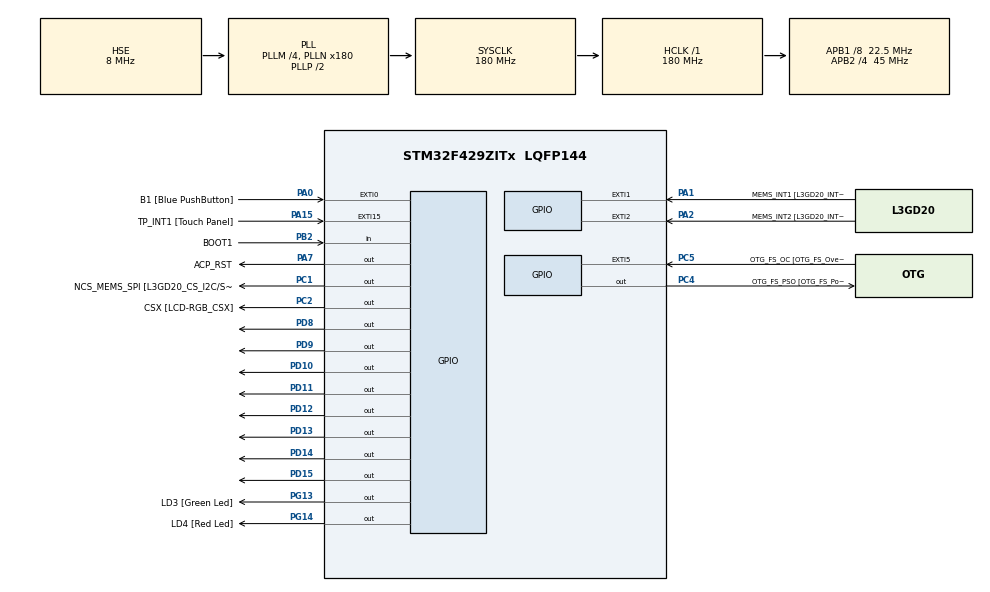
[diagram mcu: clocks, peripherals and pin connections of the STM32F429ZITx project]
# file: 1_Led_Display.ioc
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Mcu.Family=STM32F4
Mcu.Name=STM32F429ZITx
Mcu.Package=LQFP144
NVIC.EXTI0_IRQn=true\:0\:0\:false\:false\:true\:true\:true\:true
NVIC.PriorityGroup=NVIC_PRIORITYGROUP_0
NVIC.TIM6_DAC_IRQn=true\:0\:0\:false\:false\:true\:true\:true\:true
PA0/WKUP.GPIO_Label=B1 [Blue PushButton]
PA0/WKUP.GPIO_ModeDefaultEXTI=GPIO_MODE_IT_RISING
PA0/WKUP.GPIO_PuPd=GPIO_NOPULL
PA0/WKUP.Signal=GPXTI0
PA1.GPIO_Label=MEMS_INT1 [L3GD20_INT1]
PA1.GPIO_ModeDefaultEXTI=GPIO_MODE_EVT_RISING
PA1.GPIO_PuPd=GPIO_NOPULL
PA1.Signal=GPXTI1
PA10.GPIO_Label=STLINK_TX [STM32F103CBT6_PA2]
PA10.Signal=USART1_RX
PA11.GPIO_Label=R4
PA11.GPIO_Mode=GPIO_MODE_AF_PP
PA11.GPIO_PuPd=GPIO_NOPULL
PA11.GPIO_Speed=GPIO_SPEED_FREQ_LOW
PA11.Signal=LTDC_R4
PA12.GPIO_Label=R5
PA12.GPIO_Mode=GPIO_MODE_AF_PP
PA12.GPIO_PuPd=GPIO_NOPULL
PA12.GPIO_Speed=GPIO_SPEED_FREQ_LOW
PA12.Signal=LTDC_R5
PA13.GPIO_Label=SWDIO
PA13.Signal=SYS_JTMS-SWDIO
PA14.GPIO_Label=SWCLK
PA14.Signal=SYS_JTCK-SWCLK
PA15.GPIO_Label=TP_INT1 [Touch Panel]
PA15.GPIO_ModeDefaultEXTI=GPIO_MODE_EVT_RISING
PA15.GPIO_PuPd=GPIO_NOPULL
PA15.Signal=GPXTI15
PA2.GPIO_Label=MEMS_INT2 [L3GD20_INT2]
PA2.GPIO_ModeDefaultEXTI=GPIO_MODE_EVT_RISING
PA2.GPIO_PuPd=GPIO_NOPULL
PA2.Signal=GPXTI2
PA3.GPIO_Label=B5
PA3.GPIO_Mode=GPIO_MODE_AF_PP
PA3.GPIO_PuPd=GPIO_NOPULL
PA3.GPIO_Speed=GPIO_SPEED_FREQ_LOW
PA3.Signal=LTDC_B5
PA4.GPIO_Label=VSYNC
PA4.GPIO_Mode=GPIO_MODE_AF_PP
PA4.GPIO_PuPd=GPIO_NOPULL
PA4.GPIO_Speed=GPIO_SPEED_FREQ_LOW
PA4.Signal=LTDC_VSYNC
PA6.GPIO_Label=G2
PA6.GPIO_Mode=GPIO_MODE_AF_PP
PA6.GPIO_PuPd=GPIO_NOPULL
PA6.GPIO_Speed=GPIO_SPEED_FREQ_LOW
PA6.Signal=LTDC_G2
PA7.GPIO_Label=ACP_RST
PA7.GPIO_Mode=GPIO_MODE_OUTPUT_PP
PA7.GPIO_PuPd=GPIO_NOPULL
PA7.GPIO_Speed=GPIO_SPEED_FREQ_LOW
PA7.Signal=GPIO_Output
PA8.GPIO_Label=I2C3_SCL [ACP/RF_SCL]
PA8.GPIO_Mode=GPIO_MODE_AF_OD
PA8.GPIO_PuPd=GPIO_NOPULL
PA8.GPIO_Speed=GPIO_SPEED_FREQ_LOW
PA8.Signal=I2C3_SCL
PA9.GPIO_Label=STLINK_RX [STM32F103CBT6_PA3]
PA9.Signal=USART1_TX
PB0.GPIO_Label=R3
PB0.GPIO_Mode=GPIO_MODE_AF_PP
PB0.GPIO_PuPd=GPIO_NOPULL
PB0.GPIO_Speed=GPIO_SPEED_FREQ_LOW
PB0.Signal=LTDC_R3
PB1.GPIO_Label=R6
PB1.GPIO_Mode=GPIO_MODE_AF_PP
PB1.GPIO_PuPd=GPIO_NOPULL
PB1.GPIO_Speed=GPIO_SPEED_FREQ_LOW
PB1.Signal=LTDC_R6
PB10.GPIO_Label=G4
PB10.GPIO_Mode=GPIO_MODE_AF_PP
PB10.GPIO_PuPd=GPIO_NOPULL
PB10.GPIO_Speed=GPIO_SPEED_FREQ_LOW
PB10.Signal=LTDC_G4
PB11.GPIO_Label=G5
PB11.GPIO_Mode=GPIO_MODE_AF_PP
PB11.GPIO_PuPd=GPIO_NOPULL
PB11.GPIO_Speed=GPIO_SPEED_FREQ_LOW
PB11.Signal=LTDC_G5
PB12.GPIO_Label=OTG_HS_ID
PB12.GPIO_Mode=GPIO_MODE_AF_PP
PB12.GPIO_PuPd=GPIO_NOPULL
PB12.GPIO_Speed=GPIO_SPEED_FREQ_LOW
PB12.Signal=USB_OTG_HS_ID
PB13.GPIO_Label=VBUS_HS
PB13.GPIO_Mode=GPIO_MODE_INPUT
PB13.GPIO_PuPd=GPIO_NOPULL
PB13.Signal=USB_OTG_HS_VBUS
PB14.GPIO_Label=OTG_HS_DM
PB14.GPIO_Mode=GPIO_MODE_AF_PP
PB14.GPIO_PuPd=GPIO_NOPULL
PB14.GPIO_Speed=GPIO_SPEED_FREQ_LOW
PB14.Signal=USB_OTG_HS_DM
PB15.GPIO_Label=OTG_HS_DP
PB15.GPIO_Mode=GPIO_MODE_AF_PP
PB15.GPIO_PuPd=GPIO_NOPULL
PB15.GPIO_Speed=GPIO_SPEED_FREQ_LOW
PB15.Signal=USB_OTG_HS_DP
PB2/BOOT1.GPIO_Label=BOOT1
PB2/BOOT1.GPIO_Mode=GPIO_MODE_INPUT
PB2/BOOT1.GPIO_PuPd=GPIO_NOPULL
PB2/BOOT1.Signal=GPIO_Input
PB5.GPIO_Label=SDCKE1
PB5.GPIO_Mode=GPIO_MODE_AF_PP
PB5.GPIO_PuPd=GPIO_NOPULL
PB5.GPIO_Speed=GPIO_SPEED_FREQ_VERY_HIGH
PB5.Signal=FMC_SDCKE1
PB6.GPIO_Label=SDNE1 [SDRAM_CS]
PB6.GPIO_Mode=GPIO_MODE_AF_PP
PB6.GPIO_PuPd=GPIO_NOPULL
PB6.GPIO_Speed=GPIO_SPEED_FREQ_VERY_HIGH
PB6.Signal=FMC_SDNE1
PB8.GPIO_Label=B6
PB8.GPIO_Mode=GPIO_MODE_AF_PP
PB8.GPIO_PuPd=GPIO_NOPULL
PB8.GPIO_Speed=GPIO_SPEED_FREQ_LOW
PB8.Signal=LTDC_B6
PB9.GPIO_Label=B7
PB9.GPIO_Mode=GPIO_MODE_AF_PP
PB9.GPIO_PuPd=GPIO_NOPULL
PB9.GPIO_Speed=GPIO_SPEED_FREQ_LOW
PB9.Signal=LTDC_B7
PC0.GPIO_Label=SDNWE
PC0.GPIO_Mode=GPIO_MODE_AF_PP
PC0.GPIO_PuPd=GPIO_NOPULL
PC0.GPIO_Speed=GPIO_SPEED_FREQ_VERY_HIGH
PC0.Signal=FMC_SDNWE
PC1.GPIO_Label=NCS_MEMS_SPI [L3GD20_CS_I2C/SPI]
PC1.GPIO_Mode=GPIO_MODE_OUTPUT_PP
PC1.GPIO_PuPd=GPIO_NOPULL
PC1.GPIO_Speed=GPIO_SPEED_FREQ_LOW
PC1.Signal=GPIO_Output
PC10.GPIO_Label=R2
PC10.GPIO_Mode=GPIO_MODE_AF_PP
PC10.GPIO_PuPd=GPIO_NOPULL
PC10.GPIO_Speed=GPIO_SPEED_FREQ_LOW
PC10.Signal=LTDC_R2
PC14/OSC32_IN.GPIO_Label=PC14-OSC32_IN
PC14/OSC32_IN.Signal=RCC_OSC32_IN
PC15/OSC32_OUT.GPIO_Label=PC15-OSC32_OUT
PC15/OSC32_OUT.Signal=RCC_OSC32_OUT
PC2.GPIO_Label=CSX [LCD-RGB_CSX]
PC2.GPIO_Mode=GPIO_MODE_OUTPUT_PP
PC2.GPIO_PuPd=GPIO_NOPULL
PC2.GPIO_Speed=GPIO_SPEED_FREQ_LOW
PC2.Signal=GPIO_Output
PC4.GPIO_Label=OTG_FS_PSO [OTG_FS_PowerSwitchOn]
PC4.GPIO_Mode=GPIO_MODE_OUTPUT_PP
PC4.GPIO_PuPd=GPIO_NOPULL
PC4.GPIO_Speed=GPIO_SPEED_FREQ_LOW
PC4.Signal=GPIO_Output
PC5.GPIO_Label=OTG_FS_OC [OTG_FS_OverCurrent]
PC5.GPIO_ModeDefaultEXTI=GPIO_MODE_EVT_RISING
PC5.Signal=GPXTI5
PC6.GPIO_Label=HSYNC
PC6.GPIO_Mode=GPIO_MODE_AF_PP
PC6.GPIO_PuPd=GPIO_NOPULL
PC6.GPIO_Speed=GPIO_SPEED_FREQ_LOW
PC6.Signal=LTDC_HSYNC
PC7.GPIO_Label=G6
PC7.GPIO_Mode=GPIO_MODE_AF_PP
PC7.GPIO_PuPd=GPIO_NOPULL
PC7.GPIO_Speed=GPIO_SPEED_FREQ_LOW
PC7.Signal=LTDC_G6
PC9.GPIO_Label=I2C3_SDA [ACP/RF_SDA]
PC9.GPIO_Mode=GPIO_MODE_AF_OD
PC9.GPIO_PuPd=GPIO_NOPULL
PC9.GPIO_Speed=GPIO_SPEED_FREQ_LOW
PC9.Signal=I2C3_SDA
PD0.GPIO_Label=D2
PD0.GPIO_Mode=GPIO_MODE_AF_PP
PD0.GPIO_PuPd=GPIO_NOPULL
PD0.GPIO_Speed=GPIO_SPEED_FREQ_VERY_HIGH
PD0.Signal=FMC_D2_DA2
PD1.GPIO_Label=D3
PD1.GPIO_Mode=GPIO_MODE_AF_PP
PD1.GPIO_PuPd=GPIO_NOPULL
PD1.GPIO_Speed=GPIO_SPEED_FREQ_VERY_HIGH
PD1.Signal=FMC_D3_DA3
PD10.Signal=GPIO_Output
PD11.Signal=GPIO_Output
PD12.Signal=GPIO_Output
PD13.Signal=GPIO_Output
PD14.Signal=GPIO_Output
PD15.Signal=GPIO_Output
PD3.GPIO_Label=G7
PD3.GPIO_Mode=GPIO_MODE_AF_PP
PD3.GPIO_PuPd=GPIO_NOPULL
PD3.GPIO_Speed=GPIO_SPEED_FREQ_LOW
PD3.Signal=LTDC_G7
PD6.GPIO_Label=B2
PD6.GPIO_Mode=GPIO_MODE_AF_PP
PD6.GPIO_PuPd=GPIO_NOPULL
PD6.GPIO_Speed=GPIO_SPEED_FREQ_LOW
PD6.Signal=LTDC_B2
PD8.Signal=GPIO_Output
PD9.Signal=GPIO_Output
PE0.GPIO_Label=NBL0 [SDRAM_LDQM]
PE0.GPIO_Mode=GPIO_MODE_AF_PP
PE0.GPIO_PuPd=GPIO_NOPULL
PE0.GPIO_Speed=GPIO_SPEED_FREQ_VERY_HIGH
PE0.Signal=FMC_NBL0
PE1.GPIO_Label=NBL1 [SDRAM_UDQM]
PE1.GPIO_Mode=GPIO_MODE_AF_PP
PE1.GPIO_PuPd=GPIO_NOPULL
PE1.GPIO_Speed=GPIO_SPEED_FREQ_VERY_HIGH
PE1.Signal=FMC_NBL1
PE11.GPIO_Label=D8
PE11.GPIO_Mode=GPIO_MODE_AF_PP
PE11.GPIO_PuPd=GPIO_NOPULL
PE11.GPIO_Speed=GPIO_SPEED_FREQ_VERY_HIGH
PE11.Signal=FMC_D8_DA8
PE12.GPIO_Label=D9
PE12.GPIO_Mode=GPIO_MODE_AF_PP
PE12.GPIO_PuPd=GPIO_NOPULL
PE12.GPIO_Speed=GPIO_SPEED_FREQ_VERY_HIGH
PE12.Signal=FMC_D9_DA9
PE13.GPIO_Label=D10
PE13.GPIO_Mode=GPIO_MODE_AF_PP
PE13.GPIO_PuPd=GPIO_NOPULL
PE13.GPIO_Speed=GPIO_SPEED_FREQ_VERY_HIGH
PE13.Signal=FMC_D10_DA10
PE14.GPIO_Label=D11
PE14.GPIO_Mode=GPIO_MODE_AF_PP
PE14.GPIO_PuPd=GPIO_NOPULL
PE14.GPIO_Speed=GPIO_SPEED_FREQ_VERY_HIGH
PE14.Signal=FMC_D11_DA11
PE15.GPIO_Label=D12
PE15.GPIO_Mode=GPIO_MODE_AF_PP
PE15.GPIO_PuPd=GPIO_NOPULL
PE15.GPIO_Speed=GPIO_SPEED_FREQ_VERY_HIGH
PE15.Signal=FMC_D12_DA12
PE7.GPIO_Label=D4
PE7.GPIO_Mode=GPIO_MODE_AF_PP
PE7.GPIO_PuPd=GPIO_NOPULL
PE7.GPIO_Speed=GPIO_SPEED_FREQ_VERY_HIGH
PE7.Signal=FMC_D4_DA4
PE8.GPIO_Label=D5
PE8.GPIO_Mode=GPIO_MODE_AF_PP
PE8.GPIO_PuPd=GPIO_NOPULL
PE8.GPIO_Speed=GPIO_SPEED_FREQ_VERY_HIGH
PE8.Signal=FMC_D5_DA5
PE9.GPIO_Label=D6
PE9.GPIO_Mode=GPIO_MODE_AF_PP
PE9.GPIO_PuPd=GPIO_NOPULL
PE9.GPIO_Speed=GPIO_SPEED_FREQ_VERY_HIGH
PE9.Signal=FMC_D6_DA6
PF0.GPIO_Label=A0
PF0.GPIO_Mode=GPIO_MODE_AF_PP
PF0.GPIO_PuPd=GPIO_NOPULL
PF0.GPIO_Speed=GPIO_SPEED_FREQ_VERY_HIGH
PF0.Signal=FMC_A0
PF1.GPIO_Label=A1
PF1.GPIO_Mode=GPIO_MODE_AF_PP
PF1.GPIO_PuPd=GPIO_NOPULL
PF1.GPIO_Speed=GPIO_SPEED_FREQ_VERY_HIGH
PF1.Signal=FMC_A1
PF10.GPIO_Label=ENABLE [LCD-RGB_ENABLE]
PF10.GPIO_Mode=GPIO_MODE_AF_PP
PF10.GPIO_PuPd=GPIO_NOPULL
PF10.GPIO_Speed=GPIO_SPEED_FREQ_LOW
PF10.Signal=LTDC_DE
PF11.GPIO_Label=SDNRAS
PF11.GPIO_Mode=GPIO_MODE_AF_PP
PF11.GPIO_PuPd=GPIO_NOPULL
PF11.GPIO_Speed=GPIO_SPEED_FREQ_VERY_HIGH
PF11.Signal=FMC_SDNRAS
PF12.GPIO_Label=A6
PF12.GPIO_Mode=GPIO_MODE_AF_PP
PF12.GPIO_PuPd=GPIO_NOPULL
PF12.GPIO_Speed=GPIO_SPEED_FREQ_VERY_HIGH
PF12.Signal=FMC_A6
PF13.GPIO_Label=A7
PF13.GPIO_Mode=GPIO_MODE_AF_PP
PF13.GPIO_PuPd=GPIO_NOPULL
PF13.GPIO_Speed=GPIO_SPEED_FREQ_VERY_HIGH
PF13.Signal=FMC_A7
PF14.GPIO_Label=A8
PF14.GPIO_Mode=GPIO_MODE_AF_PP
PF14.GPIO_PuPd=GPIO_NOPULL
PF14.GPIO_Speed=GPIO_SPEED_FREQ_VERY_HIGH
PF14.Signal=FMC_A8
PF15.GPIO_Label=A9
PF15.GPIO_Mode=GPIO_MODE_AF_PP
PF15.GPIO_PuPd=GPIO_NOPULL
PF15.GPIO_Speed=GPIO_SPEED_FREQ_VERY_HIGH
PF15.Signal=FMC_A9
PF2.GPIO_Label=A2
PF2.GPIO_Mode=GPIO_MODE_AF_PP
PF2.GPIO_PuPd=GPIO_NOPULL
PF2.GPIO_Speed=GPIO_SPEED_FREQ_VERY_HIGH
PF2.Signal=FMC_A2
PF3.GPIO_Label=A3
PF3.GPIO_Mode=GPIO_MODE_AF_PP
PF3.GPIO_PuPd=GPIO_NOPULL
PF3.GPIO_Speed=GPIO_SPEED_FREQ_VERY_HIGH
PF3.Signal=FMC_A3
PF4.GPIO_Label=A4
PF4.GPIO_Mode=GPIO_MODE_AF_PP
PF4.GPIO_PuPd=GPIO_NOPULL
PF4.GPIO_Speed=GPIO_SPEED_FREQ_VERY_HIGH
PF4.Signal=FMC_A4
PF5.GPIO_Label=A5
PF5.GPIO_Mode=GPIO_MODE_AF_PP
PF5.GPIO_PuPd=GPIO_NOPULL
PF5.GPIO_Speed=GPIO_SPEED_FREQ_VERY_HIGH
PF5.Signal=FMC_A5
PF7.GPIO_Label=SPI5_SCK [L3GD20_SCL/SPC]
PF7.GPIO_Mode=GPIO_MODE_AF_PP
PF7.GPIO_PuPd=GPIO_NOPULL
PF7.GPIO_Speed=GPIO_SPEED_FREQ_LOW
PF7.Signal=SPI5_SCK
PF8.GPIO_Label=SPI5_MISO [L3GD20_SDO]
PF8.GPIO_Mode=GPIO_MODE_AF_PP
PF8.GPIO_PuPd=GPIO_NOPULL
PF8.GPIO_Speed=GPIO_SPEED_FREQ_LOW
PF8.Signal=SPI5_MISO
PF9.GPIO_Label=SPI5_MOSI [L3GD20_SDA/SDI/SDO]
PF9.GPIO_Mode=GPIO_MODE_AF_PP
PF9.GPIO_PuPd=GPIO_NOPULL
PF9.GPIO_Speed=GPIO_SPEED_FREQ_LOW
PF9.Signal=SPI5_MOSI
PG0.GPIO_Label=A10
PG0.GPIO_Mode=GPIO_MODE_AF_PP
PG0.GPIO_PuPd=GPIO_NOPULL
PG0.GPIO_Speed=GPIO_SPEED_FREQ_VERY_HIGH
PG0.Signal=FMC_A10
PG1.GPIO_Label=A11
PG1.GPIO_Mode=GPIO_MODE_AF_PP
PG1.GPIO_PuPd=GPIO_NOPULL
PG1.GPIO_Speed=GPIO_SPEED_FREQ_VERY_HIGH
PG1.Signal=FMC_A11
PG10.GPIO_Label=G3
PG10.GPIO_Mode=GPIO_MODE_AF_PP
PG10.GPIO_PuPd=GPIO_NOPULL
PG10.GPIO_Speed=GPIO_SPEED_FREQ_LOW
PG10.Signal=LTDC_G3
PG11.GPIO_Label=B3
PG11.GPIO_Mode=GPIO_MODE_AF_PP
PG11.GPIO_PuPd=GPIO_NOPULL
PG11.GPIO_Speed=GPIO_SPEED_FREQ_LOW
PG11.Signal=LTDC_B3
PG12.GPIO_Label=B4
PG12.GPIO_Mode=GPIO_MODE_AF_PP
PG12.GPIO_PuPd=GPIO_NOPULL
PG12.GPIO_Speed=GPIO_SPEED_FREQ_LOW
PG12.Signal=LTDC_B4
PG13.GPIO_Label=LD3 [Green Led]
PG13.GPIO_Mode=GPIO_MODE_OUTPUT_PP
PG13.GPIO_PuPd=GPIO_NOPULL
PG13.GPIO_Speed=GPIO_SPEED_FREQ_LOW
PG13.Signal=GPIO_Output
PG14.GPIO_Label=LD4 [Red Led]
PG14.GPIO_Mode=GPIO_MODE_OUTPUT_PP
PG14.GPIO_PuPd=GPIO_NOPULL
PG14.GPIO_Speed=GPIO_SPEED_FREQ_LOW
PG14.Signal=GPIO_Output
PG15.GPIO_Label=SDNCAS
PG15.GPIO_Mode=GPIO_MODE_AF_PP
PG15.GPIO_PuPd=GPIO_NOPULL
PG15.GPIO_Speed=GPIO_SPEED_FREQ_VERY_HIGH
PG15.Signal=FMC_SDNCAS
PG4.GPIO_Label=BA0
PG4.GPIO_Mode=GPIO_MODE_AF_PP
PG4.GPIO_PuPd=GPIO_NOPULL
PG4.GPIO_Speed=GPIO_SPEED_FREQ_VERY_HIGH
PG4.Signal=FMC_A14_BA0
PG5.GPIO_Label=BA1
PG5.GPIO_Mode=GPIO_MODE_AF_PP
PG5.GPIO_PuPd=GPIO_NOPULL
PG5.GPIO_Speed=GPIO_SPEED_FREQ_VERY_HIGH
PG5.Signal=FMC_A15_BA1
PG6.GPIO_Label=R7
PG6.GPIO_Mode=GPIO_MODE_AF_PP
PG6.GPIO_PuPd=GPIO_NOPULL
PG6.GPIO_Speed=GPIO_SPEED_FREQ_LOW
PG6.Signal=LTDC_R7
PG7.GPIO_Label=DOTCLK [LCT-RGB_DOTCLK]
PG7.GPIO_Mode=GPIO_MODE_AF_PP
PG7.GPIO_PuPd=GPIO_NOPULL
PG7.GPIO_Speed=GPIO_SPEED_FREQ_LOW
PG7.Signal=LTDC_CLK
PG8.GPIO_Label=SDCLK
PG8.GPIO_Mode=GPIO_MODE_AF_PP
PG8.GPIO_PuPd=GPIO_NOPULL
PG8.GPIO_Speed=GPIO_SPEED_FREQ_VERY_HIGH
PG8.Signal=FMC_SDCLK
PH0/OSC_IN.GPIO_Label=PH0-OSC_IN
PH0/OSC_IN.Mode=HSE-External-Oscillator
PH0/OSC_IN.Signal=RCC_OSC_IN
PH1/OSC_OUT.GPIO_Label=PH1-OSC_OUT
PH1/OSC_OUT.Mode=HSE-External-Oscillator
PH1/OSC_OUT.Signal=RCC_OSC_OUT
ProjectManager.HeapSize=0x200
ProjectManager.StackSize=0x400
ProjectManager.TargetToolchain=STM32CubeIDE
RCC.48MHZClocksFreq_Value=51428571.428571425
RCC.AHBFreq_Value=180000000
RCC.APB1CLKDivider=RCC_HCLK_DIV8
RCC.APB1Freq_Value=22500000
RCC.APB1TimFreq_Value=45000000
RCC.APB2CLKDivider=RCC_HCLK_DIV4
RCC.APB2Freq_Value=45000000
RCC.APB2TimFreq_Value=90000000
RCC.CortexFreq_Value=180000000
RCC.HCLKFreq_Value=180000000
RCC.HSE_VALUE=8000000
RCC.HSI_VALUE=16000000
RCC.LSE_VALUE=32768
RCC.PLLM=4
RCC.PLLN=180
RCC.PLLQ=7
RCC.PLLSourceVirtual=RCC_PLLSOURCE_HSE
RCC.SYSCLKFreq_VALUE=180000000
RCC.SYSCLKSource=RCC_SYSCLKSOURCE_PLLCLK
RCC.VCOOutputFreq_Value=360000000
SH.FMC_A0.0=FMC_A0
SH.FMC_A1.0=FMC_A1
SH.FMC_A10.0=FMC_A10
SH.FMC_A11.0=FMC_A11
SH.FMC_A14_BA0.0=FMC_BA0
SH.FMC_A15_BA1.0=FMC_BA1
SH.FMC_A2.0=FMC_A2
SH.FMC_A3.0=FMC_A3
SH.FMC_A4.0=FMC_A4
SH.FMC_A5.0=FMC_A5
SH.FMC_A6.0=FMC_A6
SH.FMC_A7.0=FMC_A7
SH.FMC_A8.0=FMC_A8
SH.FMC_A9.0=FMC_A9
SH.FMC_D10_DA10.0=FMC_D10
SH.FMC_D11_DA11.0=FMC_D11
SH.FMC_D12_DA12.0=FMC_D12
SH.FMC_D2_DA2.0=FMC_D2
SH.FMC_D3_DA3.0=FMC_D3
SH.FMC_D4_DA4.0=FMC_D4
SH.FMC_D5_DA5.0=FMC_D5
SH.FMC_D6_DA6.0=FMC_D6
SH.FMC_D8_DA8.0=FMC_D8
SH.FMC_D9_DA9.0=FMC_D9
SH.FMC_NBL0.0=FMC_NBL0
SH.FMC_NBL1.0=FMC_NBL1
SH.FMC_SDCLK.0=FMC_SDCLK
SH.FMC_SDNCAS.0=FMC_SDNCAS
SH.FMC_SDNRAS.0=FMC_SDNRAS
SH.FMC_SDNWE.0=FMC_SDNWE
TIM6.Period=99
TIM6.Prescaler=80
VP_TIM6_VS_ClockSourceINT.Mode=Enable_Timer
board=STM32F429I-DISC1

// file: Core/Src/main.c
/* USER CODE BEGIN Header */
/**
 ******************************************************************************
 * @file           : main.c
 * @brief          : Main program body
 ******************************************************************************
 * @attention
 *
 * Copyright (c) 2025 STMicroelectronics.
 * All rights reserved.
 *
 * This software is licensed under terms that can be found in the LICENSE file
 * in the root directory of this software component.
 * If no LICENSE file comes with this software, it is provided AS-IS.
 *
 ******************************************************************************
 */
/* USER CODE END Header */
#include "main.h"
#include <stdint.h>

TIM_HandleTypeDef htim6;

/* USER CODE BEGIN PV */
volatile uint8_t LED_Value;
//Mảng lưu các giá trị của mode 4
const unsigned char frames[] = { 0x00, 0x81, 0x42, 0x24, 0x18, 0x18, 0x24, 0x42,
		0x81, 0x00 };
uint8_t countMode = 1;
//Mode 1 là mode ban đầu của chương trình
volatile uint8_t modeLed = 0;
volatile uint8_t chance;
static uint8_t value1 = 1;
static uint8_t value2 = 1;
static uint8_t value3 = 0xFF;
static uint8_t value4 = 0;
/* USER CODE END PV */

void SystemClock_Config(void);
static void MX_GPIO_Init(void);
static void MX_TIM6_Init(void);

/* USER CODE BEGIN 0 */
uint8_t setLEDsMode1() {

	value1 = (value1 << 1) | (value1 >> 7);
	return value1;
}
uint8_t setLEDsMode2() {

	value2 = (value2 >> 1) | (value2 << 7);
	return value2;
}
uint8_t setLEDsMode3() {
	//static int value3 = 0xFF;
	value3 = ~value3;
	return value3;
}
uint8_t setLEDsMode4() {
	value4 = value4 % 10;
	return frames[value4++];
}
//con tro ham goi mode
uint8_t (*setLEDsMode[])() = {setLEDsMode1, setLEDsMode2, setLEDsMode3, setLEDsMode4};
void DisplayLEDs(uint8_t mode) {
	LED_Value = setLEDsMode[mode]();
	if (LED_Value & 0x80)
		HAL_GPIO_WritePin(GPIOD, GPIO_PIN_15, GPIO_PIN_SET);
	else
		HAL_GPIO_WritePin(GPIOD, GPIO_PIN_15, GPIO_PIN_RESET);
	if (LED_Value & 0x40)
		HAL_GPIO_WritePin(GPIOD, GPIO_PIN_14, GPIO_PIN_SET);
	else
		HAL_GPIO_WritePin(GPIOD, GPIO_PIN_14, GPIO_PIN_RESET);
	if (LED_Value & 0x20)
		HAL_GPIO_WritePin(GPIOD, GPIO_PIN_13, GPIO_PIN_SET);
	else
		HAL_GPIO_WritePin(GPIOD, GPIO_PIN_13, GPIO_PIN_RESET);
	if (LED_Value & 0x10)
		HAL_GPIO_WritePin(GPIOD, GPIO_PIN_12, GPIO_PIN_SET);
	else
		HAL_GPIO_WritePin(GPIOD, GPIO_PIN_12, GPIO_PIN_RESET);
	if (LED_Value & 0x8)
		HAL_GPIO_WritePin(GPIOD, GPIO_PIN_11, GPIO_PIN_SET);
	else
		HAL_GPIO_WritePin(GPIOD, GPIO_PIN_11, GPIO_PIN_RESET);
	if (LED_Value & 0x4)
		HAL_GPIO_WritePin(GPIOD, GPIO_PIN_10, GPIO_PIN_SET);
	else
		HAL_GPIO_WritePin(GPIOD, GPIO_PIN_10, GPIO_PIN_RESET);
	if (LED_Value & 0x2)
		HAL_GPIO_WritePin(GPIOD, GPIO_PIN_9, GPIO_PIN_SET);
	else
		HAL_GPIO_WritePin(GPIOD, GPIO_PIN_9, GPIO_PIN_RESET);
	if (LED_Value & 0x1)
		HAL_GPIO_WritePin(GPIOD, GPIO_PIN_8, GPIO_PIN_SET);
	else
		HAL_GPIO_WritePin(GPIOD, GPIO_PIN_8, GPIO_PIN_RESET);
}
/* USER CODE END 0 */

int main(void) {

	/* MCU Configuration--------------------------------------------------------*/

	/* Reset of all peripherals, Initializes the Flash interface and the Systick. */
	HAL_Init();

	/* Configure the system clock */
	SystemClock_Config();

	/* Initialize all configured peripherals */
	MX_GPIO_Init();
	MX_TIM6_Init();
	LED_Value = 1;
	chance = 0;

	/* Infinite loop */
	while (1) {
		//Cập nhật mode khi có sự kiện ngắt
		if(chance)
		{
			modeLed = countMode;
			chance = 0;
		}
		HAL_Delay(500);
		DisplayLEDs(modeLed);
	}
}

void SystemClock_Config(void) {
	RCC_OscInitTypeDef RCC_OscInitStruct = { 0 };
	RCC_ClkInitTypeDef RCC_ClkInitStruct = { 0 };

	/** Configure the main internal regulator output voltage
	 */
	__HAL_RCC_PWR_CLK_ENABLE();
	__HAL_PWR_VOLTAGESCALING_CONFIG(PWR_REGULATOR_VOLTAGE_SCALE1);

	/** Initializes the RCC Oscillators according to the specified parameters
	 * in the RCC_OscInitTypeDef structure.
	 */
	RCC_OscInitStruct.OscillatorType = RCC_OSCILLATORTYPE_HSE;
	RCC_OscInitStruct.HSEState = RCC_HSE_ON;
	RCC_OscInitStruct.PLL.PLLState = RCC_PLL_ON;
	RCC_OscInitStruct.PLL.PLLSource = RCC_PLLSOURCE_HSE;
	RCC_OscInitStruct.PLL.PLLM = 4;
	RCC_OscInitStruct.PLL.PLLN = 180;
	RCC_OscInitStruct.PLL.PLLP = RCC_PLLP_DIV2;
	RCC_OscInitStruct.PLL.PLLQ = 7;
	if (HAL_RCC_OscConfig(&RCC_OscInitStruct) != HAL_OK) {
		Error_Handler();
	}

	/** Activate the Over-Drive mode
	 */
	if (HAL_PWREx_EnableOverDrive() != HAL_OK) {
		Error_Handler();
	}

	/** Initializes the CPU, AHB and APB buses clocks
	 */
	RCC_ClkInitStruct.ClockType = RCC_CLOCKTYPE_HCLK | RCC_CLOCKTYPE_SYSCLK
			| RCC_CLOCKTYPE_PCLK1 | RCC_CLOCKTYPE_PCLK2;
	RCC_ClkInitStruct.SYSCLKSource = RCC_SYSCLKSOURCE_PLLCLK;
	RCC_ClkInitStruct.AHBCLKDivider = RCC_SYSCLK_DIV1;
	RCC_ClkInitStruct.APB1CLKDivider = RCC_HCLK_DIV8;
	RCC_ClkInitStruct.APB2CLKDivider = RCC_HCLK_DIV4;

	if (HAL_RCC_ClockConfig(&RCC_ClkInitStruct, FLASH_LATENCY_5) != HAL_OK) {
		Error_Handler();
	}
}

static void MX_TIM6_Init(void) {

	TIM_MasterConfigTypeDef sMasterConfig = { 0 };

	htim6.Instance = TIM6;
	htim6.Init.Prescaler = 80;
	htim6.Init.CounterMode = TIM_COUNTERMODE_UP;
	htim6.Init.Period = 99;
	htim6.Init.AutoReloadPreload = TIM_AUTORELOAD_PRELOAD_DISABLE;
	if (HAL_TIM_Base_Init(&htim6) != HAL_OK) {
		Error_Handler();
	}
	sMasterConfig.MasterOutputTrigger = TIM_TRGO_RESET;
	sMasterConfig.MasterSlaveMode = TIM_MASTERSLAVEMODE_DISABLE;
	if (HAL_TIMEx_MasterConfigSynchronization(&htim6, &sMasterConfig)
			!= HAL_OK) {
		Error_Handler();
	}

}

static void MX_GPIO_Init(void) {
	GPIO_InitTypeDef GPIO_InitStruct = { 0 };

	/* GPIO Ports Clock Enable */
	__HAL_RCC_GPIOC_CLK_ENABLE();
	__HAL_RCC_GPIOF_CLK_ENABLE();
	__HAL_RCC_GPIOH_CLK_ENABLE();
	__HAL_RCC_GPIOA_CLK_ENABLE();
	__HAL_RCC_GPIOB_CLK_ENABLE();
	__HAL_RCC_GPIOG_CLK_ENABLE();
	__HAL_RCC_GPIOE_CLK_ENABLE();
	__HAL_RCC_GPIOD_CLK_ENABLE();

	/*Configure GPIO pin Output Level */
	HAL_GPIO_WritePin(GPIOC, NCS_MEMS_SPI_Pin | CSX_Pin | OTG_FS_PSO_Pin,
			GPIO_PIN_RESET);

	/*Configure GPIO pin Output Level */
	HAL_GPIO_WritePin(ACP_RST_GPIO_Port, ACP_RST_Pin, GPIO_PIN_RESET);

	/*Configure GPIO pin Output Level */
	HAL_GPIO_WritePin(GPIOD,
			GPIO_PIN_8 | GPIO_PIN_9 | GPIO_PIN_10 | GPIO_PIN_11 | GPIO_PIN_12
					| GPIO_PIN_13 | GPIO_PIN_14 | GPIO_PIN_15, GPIO_PIN_RESET);

	/*Configure GPIO pin Output Level */
	HAL_GPIO_WritePin(GPIOG, LD3_Pin | LD4_Pin, GPIO_PIN_RESET);

	/*Configure GPIO pins : A0_Pin A1_Pin A2_Pin A3_Pin
	 A4_Pin A5_Pin SDNRAS_Pin A6_Pin
	 A7_Pin A8_Pin A9_Pin */
	GPIO_InitStruct.Pin = A0_Pin | A1_Pin | A2_Pin | A3_Pin | A4_Pin | A5_Pin
			| SDNRAS_Pin | A6_Pin | A7_Pin | A8_Pin | A9_Pin;
	GPIO_InitStruct.Mode = GPIO_MODE_AF_PP;
	GPIO_InitStruct.Pull = GPIO_NOPULL;
	GPIO_InitStruct.Speed = GPIO_SPEED_FREQ_VERY_HIGH;
	GPIO_InitStruct.Alternate = GPIO_AF12_FMC;
	HAL_GPIO_Init(GPIOF, &GPIO_InitStruct);

	/*Configure GPIO pins : SPI5_SCK_Pin SPI5_MISO_Pin SPI5_MOSI_Pin */
	GPIO_InitStruct.Pin = SPI5_SCK_Pin | SPI5_MISO_Pin | SPI5_MOSI_Pin;
	GPIO_InitStruct.Mode = GPIO_MODE_AF_PP;
	GPIO_InitStruct.Pull = GPIO_NOPULL;
	GPIO_InitStruct.Speed = GPIO_SPEED_FREQ_LOW;
	GPIO_InitStruct.Alternate = GPIO_AF5_SPI5;
	HAL_GPIO_Init(GPIOF, &GPIO_InitStruct);

	/*Configure GPIO pin : ENABLE_Pin */
	GPIO_InitStruct.Pin = ENABLE_Pin;
	GPIO_InitStruct.Mode = GPIO_MODE_AF_PP;
	GPIO_InitStruct.Pull = GPIO_NOPULL;
	GPIO_InitStruct.Speed = GPIO_SPEED_FREQ_LOW;
	GPIO_InitStruct.Alternate = GPIO_AF14_LTDC;
	HAL_GPIO_Init(ENABLE_GPIO_Port, &GPIO_InitStruct);

	/*Configure GPIO pin : SDNWE_Pin */
	GPIO_InitStruct.Pin = SDNWE_Pin;
	GPIO_InitStruct.Mode = GPIO_MODE_AF_PP;
	GPIO_InitStruct.Pull = GPIO_NOPULL;
	GPIO_InitStruct.Speed = GPIO_SPEED_FREQ_VERY_HIGH;
	GPIO_InitStruct.Alternate = GPIO_AF12_FMC;
	HAL_GPIO_Init(SDNWE_GPIO_Port, &GPIO_InitStruct);

	/*Configure GPIO pins : NCS_MEMS_SPI_Pin CSX_Pin OTG_FS_PSO_Pin */
	GPIO_InitStruct.Pin = NCS_MEMS_SPI_Pin | CSX_Pin | OTG_FS_PSO_Pin;
	GPIO_InitStruct.Mode = GPIO_MODE_OUTPUT_PP;
	GPIO_InitStruct.Pull = GPIO_NOPULL;
	GPIO_InitStruct.Speed = GPIO_SPEED_FREQ_LOW;
	HAL_GPIO_Init(GPIOC, &GPIO_InitStruct);

	/*Configure GPIO pin : B1_Pin */
	GPIO_InitStruct.Pin = B1_Pin;
	GPIO_InitStruct.Mode = GPIO_MODE_IT_RISING;
	GPIO_InitStruct.Pull = GPIO_NOPULL;
	HAL_GPIO_Init(B1_GPIO_Port, &GPIO_InitStruct);

	/*Configure GPIO pins : MEMS_INT1_Pin MEMS_INT2_Pin TP_INT1_Pin */
	GPIO_InitStruct.Pin = MEMS_INT1_Pin | MEMS_INT2_Pin | TP_INT1_Pin;
	GPIO_InitStruct.Mode = GPIO_MODE_EVT_RISING;
	GPIO_InitStruct.Pull = GPIO_NOPULL;
	HAL_GPIO_Init(GPIOA, &GPIO_InitStruct);

	/*Configure GPIO pins : B5_Pin VSYNC_Pin G2_Pin R4_Pin
	 R5_Pin */
	GPIO_InitStruct.Pin = B5_Pin | VSYNC_Pin | G2_Pin | R4_Pin | R5_Pin;
	GPIO_InitStruct.Mode = GPIO_MODE_AF_PP;
	GPIO_InitStruct.Pull = GPIO_NOPULL;
	GPIO_InitStruct.Speed = GPIO_SPEED_FREQ_LOW;
	GPIO_InitStruct.Alternate = GPIO_AF14_LTDC;
	HAL_GPIO_Init(GPIOA, &GPIO_InitStruct);

	/*Configure GPIO pin : ACP_RST_Pin */
	GPIO_InitStruct.Pin = ACP_RST_Pin;
	GPIO_InitStruct.Mode = GPIO_MODE_OUTPUT_PP;
	GPIO_InitStruct.Pull = GPIO_NOPULL;
	GPIO_InitStruct.Speed = GPIO_SPEED_FREQ_LOW;
	HAL_GPIO_Init(ACP_RST_GPIO_Port, &GPIO_InitStruct);

	/*Configure GPIO pin : OTG_FS_OC_Pin */
	GPIO_InitStruct.Pin = OTG_FS_OC_Pin;
	GPIO_InitStruct.Mode = GPIO_MODE_EVT_RISING;
	GPIO_InitStruct.Pull = GPIO_NOPULL;
	HAL_GPIO_Init(OTG_FS_OC_GPIO_Port, &GPIO_InitStruct);

	/*Configure GPIO pins : R3_Pin R6_Pin */
	GPIO_InitStruct.Pin = R3_Pin | R6_Pin;
	GPIO_InitStruct.Mode = GPIO_MODE_AF_PP;
	GPIO_InitStruct.Pull = GPIO_NOPULL;
	GPIO_InitStruct.Speed = GPIO_SPEED_FREQ_LOW;
	GPIO_InitStruct.Alternate = GPIO_AF9_LTDC;
	HAL_GPIO_Init(GPIOB, &GPIO_InitStruct);

	/*Configure GPIO pin : BOOT1_Pin */
	GPIO_InitStruct.Pin = BOOT1_Pin;
	GPIO_InitStruct.Mode = GPIO_MODE_INPUT;
	GPIO_InitStruct.Pull = GPIO_NOPULL;
	HAL_GPIO_Init(BOOT1_GPIO_Port, &GPIO_InitStruct);

	/*Configure GPIO pins : A10_Pin A11_Pin BA0_Pin BA1_Pin
	 SDCLK_Pin SDNCAS_Pin */
	GPIO_InitStruct.Pin = A10_Pin | A11_Pin | BA0_Pin | BA1_Pin | SDCLK_Pin
			| SDNCAS_Pin;
	GPIO_InitStruct.Mode = GPIO_MODE_AF_PP;
	GPIO_InitStruct.Pull = GPIO_NOPULL;
	GPIO_InitStruct.Speed = GPIO_SPEED_FREQ_VERY_HIGH;
	GPIO_InitStruct.Alternate = GPIO_AF12_FMC;
	HAL_GPIO_Init(GPIOG, &GPIO_InitStruct);

	/*Configure GPIO pins : D4_Pin D5_Pin D6_Pin D8_Pin
	 D9_Pin D10_Pin D11_Pin D12_Pin
	 NBL0_Pin NBL1_Pin */
	GPIO_InitStruct.Pin = D4_Pin | D5_Pin | D6_Pin | D8_Pin | D9_Pin | D10_Pin
			| D11_Pin | D12_Pin | NBL0_Pin | NBL1_Pin;
	GPIO_InitStruct.Mode = GPIO_MODE_AF_PP;
	GPIO_InitStruct.Pull = GPIO_NOPULL;
	GPIO_InitStruct.Speed = GPIO_SPEED_FREQ_VERY_HIGH;
	GPIO_InitStruct.Alternate = GPIO_AF12_FMC;
	HAL_GPIO_Init(GPIOE, &GPIO_InitStruct);

	/*Configure GPIO pins : G4_Pin G5_Pin B6_Pin B7_Pin */
	GPIO_InitStruct.Pin = G4_Pin | G5_Pin | B6_Pin | B7_Pin;
	GPIO_InitStruct.Mode = GPIO_MODE_AF_PP;
	GPIO_InitStruct.Pull = GPIO_NOPULL;
	GPIO_InitStruct.Speed = GPIO_SPEED_FREQ_LOW;
	GPIO_InitStruct.Alternate = GPIO_AF14_LTDC;
	HAL_GPIO_Init(GPIOB, &GPIO_InitStruct);

	/*Configure GPIO pins : OTG_HS_ID_Pin OTG_HS_DM_Pin OTG_HS_DP_Pin */
	GPIO_InitStruct.Pin = OTG_HS_ID_Pin | OTG_HS_DM_Pin | OTG_HS_DP_Pin;
	GPIO_InitStruct.Mode = GPIO_MODE_AF_PP;
	GPIO_InitStruct.Pull = GPIO_NOPULL;
	GPIO_InitStruct.Speed = GPIO_SPEED_FREQ_LOW;
	GPIO_InitStruct.Alternate = GPIO_AF12_OTG_HS_FS;
	HAL_GPIO_Init(GPIOB, &GPIO_InitStruct);

	/*Configure GPIO pin : VBUS_HS_Pin */
	GPIO_InitStruct.Pin = VBUS_HS_Pin;
	GPIO_InitStruct.Mode = GPIO_MODE_INPUT;
	GPIO_InitStruct.Pull = GPIO_NOPULL;
	HAL_GPIO_Init(VBUS_HS_GPIO_Port, &GPIO_InitStruct);

	/*Configure GPIO pins : PD8 PD9 PD10 PD11
	 PD12 PD13 PD14 PD15 */
	GPIO_InitStruct.Pin = GPIO_PIN_8 | GPIO_PIN_9 | GPIO_PIN_10 | GPIO_PIN_11
			| GPIO_PIN_12 | GPIO_PIN_13 | GPIO_PIN_14 | GPIO_PIN_15;
	GPIO_InitStruct.Mode = GPIO_MODE_OUTPUT_PP;
	GPIO_InitStruct.Pull = GPIO_NOPULL;
	GPIO_InitStruct.Speed = GPIO_SPEED_FREQ_LOW;
	HAL_GPIO_Init(GPIOD, &GPIO_InitStruct);

	/*Configure GPIO pins : R7_Pin DOTCLK_Pin B3_Pin */
	GPIO_InitStruct.Pin = R7_Pin | DOTCLK_Pin | B3_Pin;
	GPIO_InitStruct.Mode = GPIO_MODE_AF_PP;
	GPIO_InitStruct.Pull = GPIO_NOPULL;
	GPIO_InitStruct.Speed = GPIO_SPEED_FREQ_LOW;
	GPIO_InitStruct.Alternate = GPIO_AF14_LTDC;
	HAL_GPIO_Init(GPIOG, &GPIO_InitStruct);

	/*Configure GPIO pins : HSYNC_Pin G6_Pin R2_Pin */
	GPIO_InitStruct.Pin = HSYNC_Pin | G6_Pin | R2_Pin;
	GPIO_InitStruct.Mode = GPIO_MODE_AF_PP;
	GPIO_InitStruct.Pull = GPIO_NOPULL;
	GPIO_InitStruct.Speed = GPIO_SPEED_FREQ_LOW;
	GPIO_InitStruct.Alternate = GPIO_AF14_LTDC;
	HAL_GPIO_Init(GPIOC, &GPIO_InitStruct);

	/*Configure GPIO pin : I2C3_SDA_Pin */
	GPIO_InitStruct.Pin = I2C3_SDA_Pin;
	GPIO_InitStruct.Mode = GPIO_MODE_AF_OD;
	GPIO_InitStruct.Pull = GPIO_NOPULL;
	GPIO_InitStruct.Speed = GPIO_SPEED_FREQ_LOW;
	GPIO_InitStruct.Alternate = GPIO_AF4_I2C3;
	HAL_GPIO_Init(I2C3_SDA_GPIO_Port, &GPIO_InitStruct);

	/*Configure GPIO pin : I2C3_SCL_Pin */
	GPIO_InitStruct.Pin = I2C3_SCL_Pin;
	GPIO_InitStruct.Mode = GPIO_MODE_AF_OD;
	GPIO_InitStruct.Pull = GPIO_NOPULL;
	GPIO_InitStruct.Speed = GPIO_SPEED_FREQ_LOW;
	GPIO_InitStruct.Alternate = GPIO_AF4_I2C3;
	HAL_GPIO_Init(I2C3_SCL_GPIO_Port, &GPIO_InitStruct);

	/*Configure GPIO pins : STLINK_RX_Pin STLINK_TX_Pin */
	GPIO_InitStruct.Pin = STLINK_RX_Pin | STLINK_TX_Pin;
	GPIO_InitStruct.Mode = GPIO_MODE_AF_PP;
	GPIO_InitStruct.Pull = GPIO_NOPULL;
	GPIO_InitStruct.Speed = GPIO_SPEED_FREQ_VERY_HIGH;
	GPIO_InitStruct.Alternate = GPIO_AF7_USART1;
	HAL_GPIO_Init(GPIOA, &GPIO_InitStruct);

	/*Configure GPIO pins : D2_Pin D3_Pin */
	GPIO_InitStruct.Pin = D2_Pin | D3_Pin;
	GPIO_InitStruct.Mode = GPIO_MODE_AF_PP;
	GPIO_InitStruct.Pull = GPIO_NOPULL;
	GPIO_InitStruct.Speed = GPIO_SPEED_FREQ_VERY_HIGH;
	GPIO_InitStruct.Alternate = GPIO_AF12_FMC;
	HAL_GPIO_Init(GPIOD, &GPIO_InitStruct);

	/*Configure GPIO pins : G7_Pin B2_Pin */
	GPIO_InitStruct.Pin = G7_Pin | B2_Pin;
	GPIO_InitStruct.Mode = GPIO_MODE_AF_PP;
	GPIO_InitStruct.Pull = GPIO_NOPULL;
	GPIO_InitStruct.Speed = GPIO_SPEED_FREQ_LOW;
	GPIO_InitStruct.Alternate = GPIO_AF14_LTDC;
	HAL_GPIO_Init(GPIOD, &GPIO_InitStruct);

	/*Configure GPIO pins : G3_Pin B4_Pin */
	GPIO_InitStruct.Pin = G3_Pin | B4_Pin;
	GPIO_InitStruct.Mode = GPIO_MODE_AF_PP;
	GPIO_InitStruct.Pull = GPIO_NOPULL;
	GPIO_InitStruct.Speed = GPIO_SPEED_FREQ_LOW;
	GPIO_InitStruct.Alternate = GPIO_AF9_LTDC;
	HAL_GPIO_Init(GPIOG, &GPIO_InitStruct);

	/*Configure GPIO pins : LD3_Pin LD4_Pin */
	GPIO_InitStruct.Pin = LD3_Pin | LD4_Pin;
	GPIO_InitStruct.Mode = GPIO_MODE_OUTPUT_PP;
	GPIO_InitStruct.Pull = GPIO_NOPULL;
	GPIO_InitStruct.Speed = GPIO_SPEED_FREQ_LOW;
	HAL_GPIO_Init(GPIOG, &GPIO_InitStruct);

	/*Configure GPIO pins : SDCKE1_Pin SDNE1_Pin */
	GPIO_InitStruct.Pin = SDCKE1_Pin | SDNE1_Pin;
	GPIO_InitStruct.Mode = GPIO_MODE_AF_PP;
	GPIO_InitStruct.Pull = GPIO_NOPULL;
	GPIO_InitStruct.Speed = GPIO_SPEED_FREQ_VERY_HIGH;
	GPIO_InitStruct.Alternate = GPIO_AF12_FMC;
	HAL_GPIO_Init(GPIOB, &GPIO_InitStruct);

	/* EXTI interrupt init*/
	HAL_NVIC_SetPriority(EXTI0_IRQn, 0, 0);
	HAL_NVIC_EnableIRQ(EXTI0_IRQn);

}

void Error_Handler(void) {
	__disable_irq();
	while (1) {
	}
}
